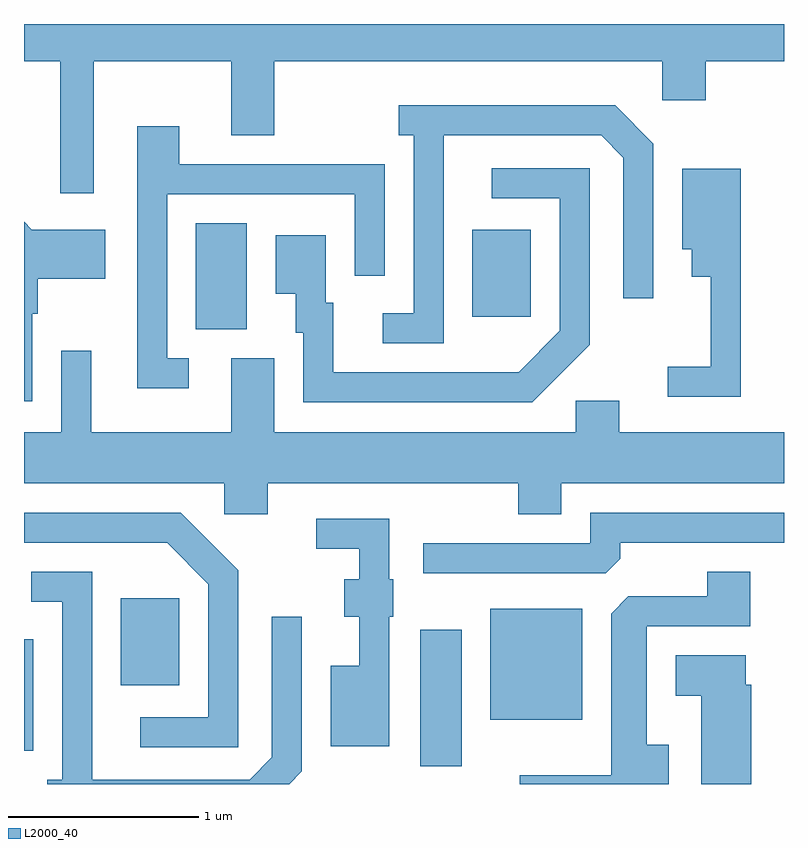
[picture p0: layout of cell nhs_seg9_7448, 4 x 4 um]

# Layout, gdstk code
import gdstk
lib = gdstk.Library(unit=1e-6, precision=1e-09)
def R(c, l, rs):  # rectangles x0, y0, x1, y1
    for r in rs: c.add(gdstk.rectangle(r[:2], r[2:], *l))
def P(c, l, *ps):  # polygons
    for p in ps: c.add(gdstk.Polygon(p, *l))
L2000_40 = (2000, 40)

nhs_seg9_7448 = lib.new_cell('nhs_seg9_7448')
R(nhs_seg9_7448, L2000_40, [(407.696,2012.526,407.914,2013.244), (405.611,2012.606,405.659,2013.193), (408.066,2012.771,408.549,2013.354), (406.121,2012.951,406.429,2013.409), (406.516,2014.826,406.784,2015.384), (407.971,2014.891,408.279,2015.349)])
P(nhs_seg9_7448, L2000_40, [(405.979,2016.236),(406.701,2016.236),(406.701,2015.846),(406.929,2015.846),(406.929,2016.236),(408.971,2016.236),(408.971,2016.031),(409.199,2016.031),(409.199,2016.236),(409.611,2016.236),(409.611,2016.432),(405.611,2016.432),(405.611,2016.236),(405.801,2016.236),(405.801,2015.541),(405.979,2015.541)],
  [(407.819,2015.846),(408.649,2015.846),(408.766,2015.729),(408.766,2014.988),(408.924,2014.988),(408.924,2015.802),(408.722,2016.004),(407.583,2016.004),(407.583,2015.846),(407.661,2015.846),(407.661,2014.909),(407.498,2014.909),(407.498,2014.751),(407.819,2014.751)],
  [(406.478,2014.674),(406.364,2014.674),(406.364,2015.536),(407.351,2015.536),(407.351,2015.108),(407.509,2015.108),(407.509,2015.694),(406.429,2015.694),(406.429,2015.894),(406.206,2015.894),(406.206,2014.516),(406.478,2014.516)],
  [(408.589,2014.744),(408.589,2015.674),(408.073,2015.674),(408.073,2015.516),(408.431,2015.516),(408.431,2014.817),(408.214,2014.599),(407.239,2014.599),(407.239,2014.964),(407.199,2014.964),(407.199,2015.319),(406.936,2015.319),(406.936,2015.011),(407.041,2015.011),(407.041,2014.806),(407.081,2014.806),(407.081,2014.441),(408.287,2014.441)],
  [(409.384,2015.669),(409.076,2015.669),(409.076,2015.246),(409.126,2015.246),(409.126,2015.101),(409.226,2015.101),(409.226,2014.629),(408.998,2014.629),(408.998,2014.471),(409.384,2014.471)],
  [(405.654,2014.906),(405.684,2014.906),(405.684,2015.091),(406.039,2015.091),(406.039,2015.349),(405.652,2015.349),(405.611,2015.39),(405.611,2014.446),(405.654,2014.446)],
  [(406.894,2014.016),(408.211,2014.016),(408.211,2013.851),(408.439,2013.851),(408.439,2014.016),(409.611,2014.016),(409.611,2014.284),(408.744,2014.284),(408.744,2014.449),(408.516,2014.449),(408.516,2014.284),(406.929,2014.284),(406.929,2014.674),(406.701,2014.674),(406.701,2014.284),(405.964,2014.284),(405.964,2014.713),(405.806,2014.713),(405.806,2014.284),(405.611,2014.284),(405.611,2014.016),(406.666,2014.016),(406.666,2013.851),(406.894,2013.851)],
  [(408.749,2013.617),(408.749,2013.701),(409.611,2013.701),(409.611,2013.859),(408.591,2013.859),(408.591,2013.699),(407.713,2013.699),(407.713,2013.541),(408.674,2013.541)],
  [(406.739,2013.557),(406.437,2013.859),(405.611,2013.859),(405.611,2013.701),(406.364,2013.701),(406.581,2013.484),(406.581,2012.784),(406.223,2012.784),(406.223,2012.626),(406.739,2012.626)],
  [(407.534,2013.311),(407.554,2013.311),(407.554,2013.509),(407.534,2013.509),(407.534,2013.829),(407.148,2013.829),(407.148,2013.671),(407.376,2013.671),(407.376,2013.509),(407.296,2013.509),(407.296,2013.311),(407.376,2013.311),(407.376,2013.054),(407.226,2013.054),(407.226,2012.631),(407.534,2012.631)],
  [(409.004,2012.639),(408.889,2012.639),(408.889,2013.261),(409.434,2013.261),(409.434,2013.549),(409.206,2013.549),(409.206,2013.419),(408.792,2013.419),(408.701,2013.329),(408.701,2012.479),(408.221,2012.479),(408.221,2012.432),(409.004,2012.432)],
  [(407.074,2012.499),(407.074,2013.313),(406.916,2013.313),(406.916,2012.572),(406.799,2012.454),(405.969,2012.454),(405.969,2013.549),(405.648,2013.549),(405.648,2013.391),(405.811,2013.391),(405.811,2012.454),(405.733,2012.454),(405.733,2012.432),(407.007,2012.432)],
  [(409.439,2012.954),(409.409,2012.954),(409.409,2013.109),(409.041,2013.109),(409.041,2012.896),(409.176,2012.896),(409.176,2012.432),(409.439,2012.432)])

lib.write_gds('nhs_seg9_7448.gds')
